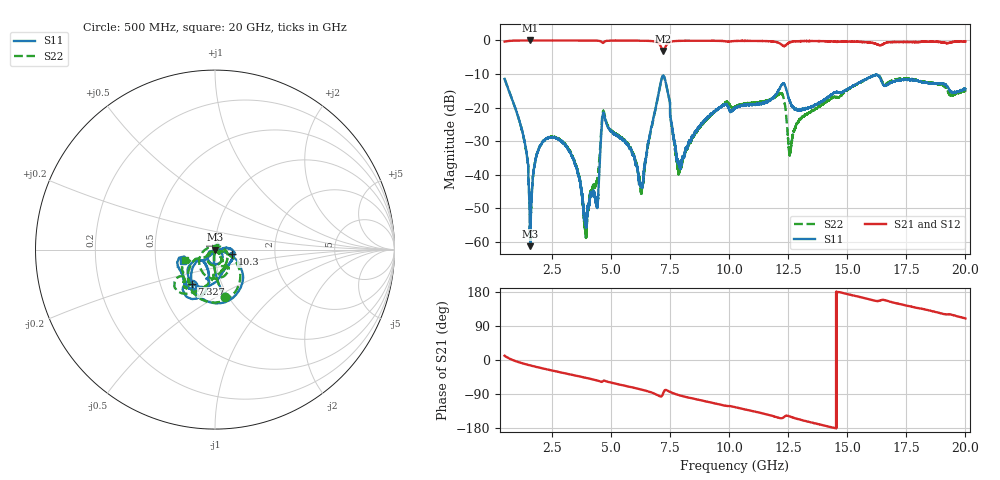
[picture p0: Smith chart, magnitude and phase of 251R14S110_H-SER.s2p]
!{251R14S110}
!Johanson Technology Inc.
!www.johansontechnology.com
!Test Board Conditions:
!Substrate Type  RO4350B
!Substrate Thickness  20 mil
!Substrate Dk  3.66
!TL Type: GCPW
!TL Trace Width  36 mil
!TL Gap  12 mil
!Electrode orientation  Horizontal
!DUT TOPOLOGY	SERIES
!Mounting Pad LxW  26x36 mil
! Created Wed Mar 11 15:49:55 2020
# mhz S ma R 50
! 2 Port Network Data from SP1.SP block
! freq  magS11  angS11  magS21  angS21  magS12  angS12  magS22  angS22
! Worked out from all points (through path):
!   19501 points, 500 MHz to 20 GHz, reference 50 ohm
!   highest |S21| = -0.01 dB at 1.572 GHz (marker M1); lowest = -3.1 dB at 7.209 GHz (marker M2)
!   group delay of S21, straight-line fit = 35.2 ps
!   lowest |S11| = -61.3 dB at 1.584 GHz (marker M3), VSWR 1.00, Z = 49.9 - j0.0326 ohm
!   |S11| at or under -10 dB: start of sweep to end of sweep
!   |S22| runs from -58.9 to -10.1 dB; largest |S21 - S12| = 0.019
!   S11 on the Smith chart (normalised r, x): 500 MHz: 0.97, -0.54; 7.327 GHz: 0.72, -0.29; 10.3 GHz: 1.21, -0.06; 20 GHz: 0.69, -0.09
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500  0.2673 -78.1  0.9603 11.3  0.9605 11.3  0.2678 -78.3
1312  0.0349 -99.5  0.9964 -9.7  0.9963 -9.7  0.03516 -96.8
1572  0.001742 -136.3  0.9984 -14.1  0.9977 -14.1  0.002165 -57.1
1584  0.0008572 -157.6  0.9978 -14.3  0.9969 -14.3  0.00179 -26.9
1898  0.02172 74.2  0.9969 -19.1  0.9971 -19.1  0.02204 67.9
2429  0.03571 63.3  0.9966 -26.7  0.9959 -26.6  0.03641 65.0
3750  0.005922 22.7  0.996 -44.4  0.9955 -44.4  0.005742 73.5
3939  0.001895 -51.7  0.9947 -47.1  0.9956 -47.0  0.00122 150.0
4397  0.003538 -100.4  0.9909 -53.7  0.9923 -53.7  0.007629 -84.3
4708  0.07945 -105.9  0.9441 -54.4  0.9449 -54.4  0.08524 -110.3
6309  0.006589 -60.6  0.9883 -78.4  0.989 -78.4  0.006176 -69.1
7000  0.1508 -29.3  0.9177 -93.5  0.9169 -93.5  0.1484 -33.4
7209  0.3004 -84.6  0.6973 -88.0  0.6982 -88.0  0.295 -90.5
7327  0.2312 -124.1  0.8302 -79.0  0.8309 -79.0  0.2275 -131.2
7903  0.01416 -63.2  0.9847 -93.2  0.984 -93.1  0.01193 -74.9
10250  0.09832 -13.1  0.9806 -124.4  0.9801 -124.4  0.1028 -63.4
10299  0.09936 -13.6  0.9823 -125.1  0.9821 -125.1  0.1048 -63.0
12206  0.2128 -102.3  0.8731 -153.8  0.8768 -153.7  0.1616 -91.9
12585  0.1207 -149.8  0.9376 -149.4  0.9395 -149.3  0.02162 69.3
13500  0.1043 -117.5  0.9789 -165.0  0.9808 -165.1  0.08935 -39.6
16750  0.2229 -116.7  0.9368 155.1  0.9347 154.9  0.2375 -126.3
20000  0.1888 -161.2  0.9649 109.7  0.9633 109.9  0.1776 -161.8
